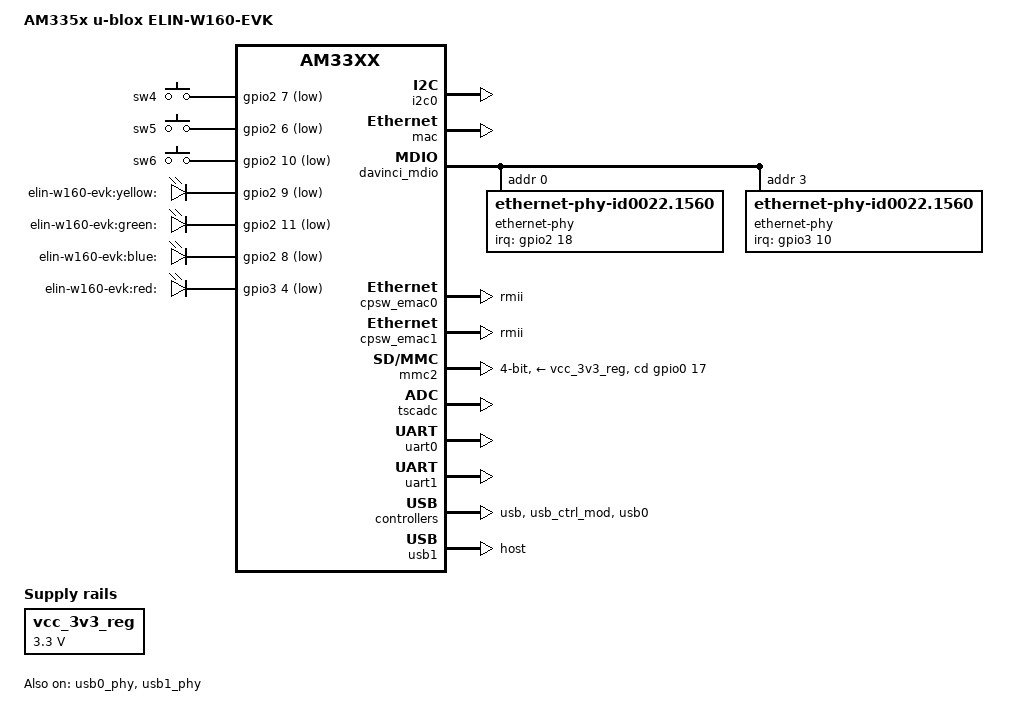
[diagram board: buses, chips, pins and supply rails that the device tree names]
/*
 * Device Tree for u-blox ELIN-W160-EVK evaluation kit
 *
 * Copyright (C) 2014 Johan Hovold <johan@hovoldconsulting.com>
 *
 * This program is free software; you can redistribute it and/or modify
 * it under the terms of the GNU General Public License version 2 as
 * published by the Free Software Foundation.
 */

/dts-v1/;

#include <dt-bindings/input/input.h>
#include "am335x-elin-w160.dtsi"

/ {
	model = "AM335x u-blox ELIN-W160-EVK";
	compatible = "u-blox,elin-w160-evk", "u-blox,elin-w160", "ti,am33xx";

	gpio-keys {
		compatible = "gpio-keys";
		#address-cells = <1>;
		#size-cells = <0>;

		pinctrl-names = "default";
		pinctrl-0 = <&gpio_keys_pins>;

		button@0 {
			label = "sw4";
			linux,code = <KEY_4>;
			gpios = <&gpio2 7 GPIO_ACTIVE_LOW>;
		};

		button@1 {
			label = "sw5";
			linux,code = <KEY_5>;
			gpios = <&gpio2 6 GPIO_ACTIVE_LOW>;
		};

		button@2 {
			label = "sw6";
			linux,code = <KEY_6>;
			gpios = <&gpio2 10 GPIO_ACTIVE_LOW>;
		};

		/*
		 * NOTE: The SW3 gpio is currently used as eth_phy0_reset.
		 */
	};

	gpio-leds {
		compatible = "gpio-leds";
		pinctrl-names = "default";
		pinctrl-0 = <&gpio_leds_pins>;

		led@0 {
			label = "elin-w160-evk:yellow:";
			gpios = <&gpio2 9 GPIO_ACTIVE_LOW>;
		};

		led@1 {
			label = "elin-w160-evk:green:";
			gpios = <&gpio2 11 GPIO_ACTIVE_LOW>;
		};

		led@2 {
			label = "elin-w160-evk:blue:";
			gpios = <&gpio2 8 GPIO_ACTIVE_LOW>;
		};

		led@3 {
			label = "elin-w160-evk:red:";
			gpios = <&gpio3 4 GPIO_ACTIVE_LOW>;
		};
	};

	vcc_3v3_reg: regulator-vcc-3v3 {
		compatible = "regulator-fixed";
		regulator-name = "vcc_3v3";
		regulator-min-microvolt = <3300000>;
		regulator-max-microvolt = <3300000>;
		regulator-always-on;
		regulator-boot-on;
	};
};

&am33xx_pinmux {
	pinctrl-names = "default";
	pinctrl-0 = <
		&bluetooth_pins
		&clkout2_pins
		&gpio_unused_pins
		&wlan_pins
	>;

	eth_phy0_pins: pinmux_eth_phy0_pins {
		pinctrl-single,pins = <
			0x130 (PIN_INPUT_PULLUP | MUX_MODE7)	/* mii1_rx_clk.gpio3_10 */
			0x1a8 (PIN_OUTPUT | MUX_MODE7)		/* mcasp0_axr1.gpio3_20 */
		>;
	};

	eth_phy1_pins: pinmux_eth_phy1_pins {
		pinctrl-single,pins = <
			0x134 (PIN_INPUT_PULLUP | MUX_MODE7)	/* mii1_rxd3.gpio2_18 */
			0x1a4 (PIN_OUTPUT | MUX_MODE7)		/* mcasp0_fsr.gpio3_19 */
		>;
	};

	gpio_unused_pins: pinmux_gpio_unused_pins {
		pinctrl-single,pins = <
			0x78 (PIN_INPUT | MUX_MODE7)		/* gpmc_be1n.gpio1_28 (GPIO.IO15) */
			0xd0 (PIN_INPUT | MUX_MODE7)		/* lcd_data12.gpio0_8 (GPIO.IO3) */
			0xd4 (PIN_INPUT | MUX_MODE7)		/* lcd_data13.gpio0_9 (GPIO.IO2) */
			0x11c (PIN_INPUT | MUX_MODE7)		/* mii1_txd3.gpio0_16 (GPIO.IO8) */
			0x12c (PIN_INPUT | MUX_MODE7)		/* mii1_tx_clk.gpio3_9 (GPIO.IO11) */
			0x1a0 (PIN_INPUT | MUX_MODE7)		/* mcasp0_acklr.gpio3_18 (GPIO.IO14) */
		>;
	};

	gpio_keys_pins: pinmux_gpio_keys_pins {
		pinctrl-single,pins = <
			0xa0 (PIN_INPUT | MUX_MODE7)		/* lcd_data0.gpio2_6 */
			0xa4 (PIN_INPUT | MUX_MODE7)		/* lcd_data1.gpio2_7 */
			0xb0 (PIN_INPUT | MUX_MODE7)		/* lcd_data4.gpio2_10 */
		>;
	};

	gpio_leds_pins: pinmux_gpio_leds_pins {
		pinctrl-single,pins = <
			0xa8 (PIN_OUTPUT | MUX_MODE7)		/* lcd_data2.gpio2_8 */
			0xac (PIN_OUTPUT | MUX_MODE7)		/* lcd_data3.gpio2_9 */
			0xb4 (PIN_OUTPUT | MUX_MODE7)		/* lcd_data5.gpio2_11 */
			0x118 (PIN_OUTPUT | MUX_MODE7)		/* mii1_rx_dv.gpio3_4 */
		>;
	};

	i2c1_pins: pinmux_i2c1_pins {
		pinctrl-single,pins = <
			0x158 (PIN_INPUT_PULLUP | MUX_MODE2)	/* spi0_d1.i2c1_sda */
			0x15c (PIN_INPUT_PULLUP | MUX_MODE2)	/* spi0_cs0.i2c1_scl */
		>;
	};

	i2c2_pins: pinmux_i2c2_pins {
		pinctrl-single,pins = <
			0x150 (PIN_INPUT_PULLUP | MUX_MODE2)	/* spi0_sclk.i2c2_sda */
			0x154 (PIN_INPUT_PULLUP | MUX_MODE2)	/* spi0_d0.i2c2_scl */
		>;
	};

	mmc2_cd_pins: pinmux_mmc2_cd_pins {
		pinctrl-single,pins = <
			0x120 (PIN_INPUT_PULLUP | MUX_MODE7)	/* mii1_txd2.gpio0_17 */
		>;
	};

	spi1_pins: pinmux_spi1_pins {
		pinctrl-single,pins = <
			0x190 (PIN_INPUT | MUX_MODE3)		/* mcasp0_aclkx.spi1_sclk */
			0x194 (PIN_OUTPUT | MUX_MODE3)		/* mcasp0_fsx.spi1_d0 */
			0x198 (PIN_INPUT | MUX_MODE3)		/* mcasp0_axr0.spi1_d1 */
			0x19c (PIN_OUTPUT| MUX_MODE3)		/* mcasp0_ahclkr.spi1_cs0 */
		>;
	};

	uart0_rts_cts_pins: pinmux_uart0_rts_cts_pins {
		pinctrl-single,pins = <
			0x168 (PIN_INPUT_PULLUP | MUX_MODE0)	/* uart0_ctsn.uart0_ctsn */
			0x16c (PIN_OUTPUT | MUX_MODE0)		/* uart0_rtsn.uart0_rtsn */
		>;
	};

	uart0_tx_rx_pins: pinmux_uart0_tx_rx_pins {
		pinctrl-single,pins = <
			0x170 (PIN_INPUT_PULLUP | MUX_MODE0)	/* uart0_rxd.uart0_rxd */
			0x174 (PIN_OUTPUT | MUX_MODE0)		/* uart0_txd.uart0_txd */
		>;
	};

	uart1_pins: pinmux_uart1_pins {
		pinctrl-single,pins = <
			0x178 (PIN_INPUT_PULLUP | MUX_MODE0)	/* uart1_ctsn.uart1_ctsn */
			0x17c (PIN_OUTPUT | MUX_MODE0)		/* uart1_rtsn.uart1_rtsn */
			0x180 (PIN_INPUT_PULLUP | MUX_MODE0)	/* uart1_rxd.uart1_rxd */
			0x184 (PIN_OUTPUT | MUX_MODE0)		/* uart1_txd.uart1_txd */
		>;
	};

	uart3_pins: pinmux_uart3_pins {
		pinctrl-single,pins = <
			0xc8 (PIN_INPUT_PULLUP | MUX_MODE6)	/* lcd_data10.uart3_ctsn */
			0xcc (PIN_OUTPUT | MUX_MODE6)		/* lcd_data11.uart3_rtsn */
			0x160 (PIN_INPUT_PULLUP | MUX_MODE1)	/* spi0_cs1.uart3_rxd */
			0x164 (PIN_OUTPUT | MUX_MODE1)		/* ecap0_in_pwm0_out.uart3_txd */
		>;
	};
};

/*
 * NOTE: Interfaces only available on pin headers are disabled by default.
 */

&i2c0 {
	/* Used internally on ELIN-W160 -- do not disable. */
	status = "okay";
};

&i2c1 {
	clock-frequency = <400000>;

	pinctrl-names = "default";
	pinctrl-0 = <&i2c1_pins>;
	status = "disabled";
};

&i2c2 {
	clock-frequency = <400000>;

	pinctrl-names = "default";
	pinctrl-0 = <&i2c2_pins>;
	status = "disabled";
};

&mac {
	dual_emac = <1>;

	pinctrl-names = "default", "sleep";
	pinctrl-0 = <&cpsw_port1_pins &cpsw_port2_pins>;
	pinctrl-1 = <&cpsw_port1_pins_sleep &cpsw_port2_pins_sleep>;
	status = "okay";
};

&davinci_mdio {
	pinctrl-names = "default", "sleep";
	pinctrl-0 = <&mdio_pins>;
	pinctrl-1 = <&mdio_pins_sleep>;
	status = "okay";

	ethernet-phy@0 {
		compatible = "ethernet-phy-id0022.1560", "ethernet-phy-ieee802.3-c22";
		reg = <0>;

		interrupt-parent = <&gpio2>;
		interrupts = <18 8>;

		pinctrl-names = "default";
		pinctrl-0 = <&eth_phy1_pins>;
	};

	ethernet-phy@3 {
		compatible = "ethernet-phy-id0022.1560", "ethernet-phy-ieee802.3-c22";
		reg = <3>;

		interrupt-parent = <&gpio3>;
		interrupts = <10 8>;

		pinctrl-names = "default";
		pinctrl-0 = <&eth_phy0_pins>;
	};
};

&cpsw_emac0 {
	phy_id = <&davinci_mdio>, <3>;
	phy-mode = "rmii";
	dual_emac_res_vlan = <1>;
};

&cpsw_emac1 {
	phy_id = <&davinci_mdio>, <0>;
	phy-mode = "rmii";
	dual_emac_res_vlan = <2>;
};

&phy_sel {
	rmii-clock-ext;
};

&mmc2 {
	cd-gpios = <&gpio0 17 GPIO_ACTIVE_HIGH>;
	bus-width = <4>;

	vmmc-supply = <&vcc_3v3_reg>;

	pinctrl-names = "default";
	pinctrl-0 = <&mmc2_clk_cmd_dat0_pins &mmc2_dat1_3_pins &mmc2_cd_pins>;
	status = "okay";
};

&spi1 {
	ti,pindir-d0-out-d1-in;

	pinctrl-names = "default";
	pinctrl-0 = <&spi1_pins>;
	status = "disabled";
};

&tscadc {
	status = "okay";

	adc {
		ti,adc-channels	= <0 1 2 3>;
	};
};

&uart0 {
	pinctrl-names = "default";
	pinctrl-0 = <&uart0_tx_rx_pins &uart0_rts_cts_pins>;
	status = "okay";
};

&uart1 {
	pinctrl-names = "default";
	pinctrl-0 = <&uart1_pins>;
	status = "okay";
};

&uart3 {
	pinctrl-names = "default";
	pinctrl-0 = <&uart3_pins>;
	status = "disabled";
};

&usb {
	status = "okay";
};

&usb_ctrl_mod {
	status = "okay";
};

&usb0 {
	status = "okay";
};

&usb0_phy {
	status = "okay";
};

&usb1 {
	dr_mode = "host";

	status = "okay";
};

&usb1_phy {
	status = "okay";
};

&cppi41dma {
	status = "okay";
};
